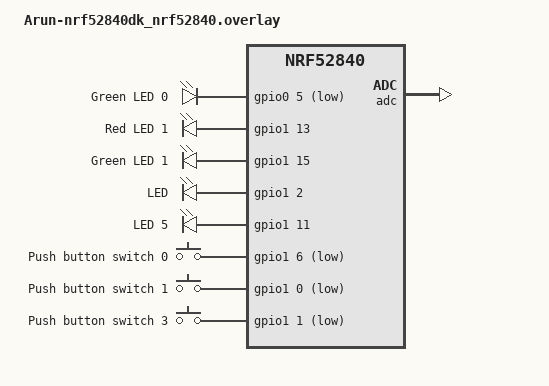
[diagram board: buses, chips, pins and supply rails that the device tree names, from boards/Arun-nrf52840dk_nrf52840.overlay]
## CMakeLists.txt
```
cmake_minimum_required(VERSION 3.20.0)

find_package(Zephyr REQUIRED HINTS $ENV{ZEPHYR_BASE})

project(nurse_call_spo2)

# NORDIC SDK APP START
set(TT_DEVICE_TYPE "NURSE_CALL_SPO2")
include(../TT_common/tt_common.cmake)

target_sources(app PRIVATE
    src/app_threads.c
    src/spo2_sensor.c
    src/temp_sensor.c
    ../TT_common/adc_utils.c
)
# NORDIC SDK APP END
```

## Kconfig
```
#
# Kconfig for Nurse_Call_SpO2 combined application
#

menu "Zephyr Kernel"
source "Kconfig.zephyr"
endmenu

module = COAP_CLIENT
module-str = CoAP client
source "${ZEPHYR_BASE}/subsys/logging/Kconfig.template.log_config"

module = COAP_CLIENT_UTILS
module-str = CoAP client utilities
source "${ZEPHYR_BASE}/subsys/logging/Kconfig.template.log_config"

module = BLE_UTILS
module-str = Bluetooth connection utilities
source "${ZEPHYR_BASE}/subsys/logging/Kconfig.template.log_config"

config APP_NURSE_CALL_ONLY
    bool "Build as Nurse Call Only (disable SpO2 and Temp)"
    default n
    help
      Sets default SpO2 and Temp scan rates to 9999 so sensor threads
      are never spawned, operating purely as a standalone Nurse Call device.

config USE_ADC_SENSOR
    bool "Enable ADC Readings"
    default y

config USE_MOTION_SENSOR
    bool "Enable Motion Sensor"
    default n

config USE_UART1_SENSOR
    bool "Enable UART1 Sensor"
    default n

config DEVICE_PREFIX
    string "Device type prefix used in unique_id (e.g. NC_SP)"
    default "NC_SP"

config DEVICE_DEFAULT_PROFILE
    string "Default profile/bed name stored in NVS on first boot"
    default "E4A_%.8s"
```

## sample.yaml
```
sample:
  description: Nurse Call and SpO2 merged firmware application with Zephyr RTOS multithreading
  name: nurse_call_spo2
tests:
  sample.nurse_call_spo2:
    build_only: true
    platform_allow: nrf52840dk_nrf52840
    tags: thread openthread ble
```

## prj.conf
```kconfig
# ==============================================================================
# TokuchuTech Fleet - Universal Master Base Configuration
# Base: IR-nRF-Blaster standard (Picolibc + OpenThread FTD + BLE + Power Mgmt)
# Updated on 2nd Sept 2026
# ==============================================================================

# --- Board & GPIO ---
CONFIG_DK_LIBRARY=y
CONFIG_GPIO=y

# --- Generic Networking & OpenThread FTD ---
CONFIG_NETWORKING=y
CONFIG_COAP=y
CONFIG_NET_L2_OPENTHREAD=y
CONFIG_OPENTHREAD=y
CONFIG_OPENTHREAD_COAP=y
CONFIG_OPENTHREAD_FTD=y
CONFIG_OPENTHREAD_SLAAC=y
CONFIG_OPENTHREAD_DEFAULT_TX_POWER=8

# --- Network Sockets ---
CONFIG_COAP_UTILS=y
CONFIG_NET_SOCKETS=y
CONFIG_NET_IPV6=y
CONFIG_NET_SOCKETS_POLL_MAX=4

# --- OpenThread Network Security & Credentials ---
CONFIG_OPENTHREAD_MANUAL_START=y
CONFIG_OPENTHREAD_JOINER=y
CONFIG_OPENTHREAD_NETWORKKEY="00:11:22:33:44:55:66:77:88:99:aa:bb:cc:dd:ee:ff"
CONFIG_OPENTHREAD_PANID=43969

# --- C-Library & Size Optimizations ---
CONFIG_PICOLIBC=y
CONFIG_CBPRINTF_NANO=y
CONFIG_SIZE_OPTIMIZATIONS=y
CONFIG_MBEDTLS_SHA1_C=n
CONFIG_FPU=y

# --- Production Hardening & Stripped Logs ---
CONFIG_LOG=n
CONFIG_ASSERT=n
CONFIG_THREAD_NAME=n
CONFIG_DEBUG_THREAD_INFO=n
# CONFIG_LOG_DEFAULT_LEVEL=2
# CONFIG_PRINTK=n

# --- UART Driver (Interrupt Driven, Async DMA Disabled) ---
CONFIG_UART_ASYNC_API=n
CONFIG_UART_INTERRUPT_DRIVEN=y
CONFIG_UART_0_INTERRUPT_DRIVEN=y

# --- NVS Flash & System Control ---
CONFIG_NVS=y
CONFIG_FLASH=y
CONFIG_FLASH_MAP=y
CONFIG_FLASH_PAGE_LAYOUT=y
CONFIG_REBOOT=y

# --- Standard Stack Sizes ---
CONFIG_MAIN_STACK_SIZE=4096
CONFIG_SYSTEM_WORKQUEUE_STACK_SIZE=4096
CONFIG_OPENTHREAD_THREAD_STACK_SIZE=8192

# --- Bootloader & BLE FOTA (MCUmgr SMP) ---
CONFIG_BOOTLOADER_MCUBOOT=y
CONFIG_NCS_SAMPLE_MCUMGR_BT_OTA_DFU=n
CONFIG_NORDIC_QSPI_NOR=n

CONFIG_ZCBOR=y
CONFIG_NET_BUF=y
CONFIG_MCUMGR=y
CONFIG_MCUMGR_TRANSPORT_BT=y
CONFIG_MCUMGR_TRANSPORT_BT_PERM_RW=y

# Essential MCUmgr groups for BLE FOTA
CONFIG_MCUMGR_GRP_IMG=y
CONFIG_MCUMGR_GRP_OS=y
CONFIG_MCUMGR_GRP_OS_INFO=y
CONFIG_MCUMGR_GRP_OS_BOOTLOADER_INFO=y
CONFIG_MCUMGR_GRP_OS_ECHO=y
CONFIG_MCUMGR_GRP_STAT=n
CONFIG_MCUMGR_GRP_SHELL=n

CONFIG_IMG_MANAGER=y
CONFIG_MCUBOOT_IMG_MANAGER=y
CONFIG_STREAM_FLASH=y
CONFIG_IMG_ERASE_PROGRESSIVELY=y

# MCUmgr buffer settings (2475 bytes required for nRF Device Manager / DFU Manager)
CONFIG_MCUMGR_TRANSPORT_NETBUF_COUNT=4
CONFIG_MCUMGR_TRANSPORT_NETBUF_SIZE=2475

# Settings storage configuration matching pm_static.yml (0x2000 = 8 KB = 2 sectors of 4 KB)
CONFIG_SETTINGS_NVS_SECTOR_COUNT=2

# --- Hardware Peripherals & Device Identity ---
CONFIG_ADC=y
CONFIG_USE_ADC_SENSOR=y
CONFIG_DEVICE_PREFIX="NC_SP"
CONFIG_HEAP_MEM_POOL_SIZE=8192

# --- Bluetooth LE Base Profile ---
CONFIG_BT=y
CONFIG_BT_PERIPHERAL=y
CONFIG_BT_SMP=y
CONFIG_BT_NUS=y
CONFIG_BT_SETTINGS=n
CONFIG_BT_DEVICE_NAME="NC_SpO2_Device"

# --- Power Management & Device Profile ---
CONFIG_POWEROFF=y
CONFIG_PM_DEVICE=y
CONFIG_DEVICE_DEFAULT_PROFILE="E4A_%.8s"

# --- BLE High-Throughput Engine ---
CONFIG_BT_L2CAP_TX_MTU=247
CONFIG_BT_BUF_ACL_TX_SIZE=251
CONFIG_BT_BUF_ACL_RX_SIZE=251
CONFIG_BT_BUF_ACL_TX_COUNT=6
# CONFIG_BT_BUF_ACL_RX_COUNT=6
CONFIG_BT_CONN_TX_MAX=6
CONFIG_BT_DATA_LEN_UPDATE=y
CONFIG_BT_USER_DATA_LEN_UPDATE=y
CONFIG_BT_PHY_UPDATE=y

# Neutral signing version to bypass version enforcement during development
CONFIG_MCUBOOT_IMGTOOL_SIGN_VERSION="0.0.0+0"

# Custom Board GPIO & Peripheral Configuration
CONFIG_NFCT_PINS_AS_GPIOS=y
CONFIG_NORDIC_QSPI_NOR=n
```

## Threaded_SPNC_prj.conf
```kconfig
# Device Identity
CONFIG_DEVICE_PREFIX="NC_SP"
CONFIG_BT_DEVICE_NAME="NC_SpO2_Device"

# Hardware Peripherals (Battery ADC)
CONFIG_ADC=y
CONFIG_USE_ADC_SENSOR=y

# Increased Heap for Dual-Thread Concurrent Processing
CONFIG_HEAP_MEM_POOL_SIZE=8192
```

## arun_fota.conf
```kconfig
CONFIG_BOOTLOADER_MCUBOOT=y
# Disable the Nordic sample DFU umbrella which forces QSPI NOR driver and hijacks P0.19
CONFIG_NCS_SAMPLE_MCUMGR_BT_OTA_DFU=n
CONFIG_NORDIC_QSPI_NOR=n

CONFIG_MCUMGR=y
CONFIG_MCUMGR_TRANSPORT_BT=y
CONFIG_MCUMGR_TRANSPORT_BT_PERM_RW=y

# Enable only essential MCUmgr groups for BLE FOTA
CONFIG_MCUMGR_GRP_IMG=y
CONFIG_MCUMGR_GRP_OS=y
CONFIG_MCUMGR_GRP_STAT=n
CONFIG_MCUMGR_GRP_SHELL=n

CONFIG_FLASH=y
CONFIG_FLASH_MAP=y
CONFIG_IMG_MANAGER=y
CONFIG_MCUBOOT_IMG_MANAGER=y
CONFIG_STREAM_FLASH=y

# Optimize MCUmgr buffers
CONFIG_MCUMGR_TRANSPORT_NETBUF_COUNT=2
CONFIG_MCUMGR_TRANSPORT_NETBUF_SIZE=256

# Settings storage configuration matching pm_static.yml (0x2000 = 8 KB = 2 sectors of 4 KB)
CONFIG_SETTINGS_NVS_SECTOR_COUNT=2
```

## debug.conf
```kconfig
#
# For debugging with Log etc - 19/7/26
#

CONFIG_LOG=y
CONFIG_LOG_DEFAULT_LEVEL=3

# CONFIG_THREAD_ANALYZER=y
# CONFIG_THREAD_ANALYZER_AUTO=y
# CONFIG_THREAD_ANALYZER_AUTO_INTERVAL=20
# CONFIG_THREAD_NAME=y
# CONFIG_INIT_STACKS=y

CONFIG_PRINTK=y
# OTA
CONFIG_NCS_SAMPLE_MCUMGR_BT_OTA_DFU=n
```

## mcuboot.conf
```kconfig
CONFIG_NORDIC_QSPI_NOR=n
```

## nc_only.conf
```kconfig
# ==============================================================================
# TokuchuTech Fleet - Pure Nurse Call (NC Only) Configuration Variant
# ==============================================================================
CONFIG_APP_NURSE_CALL_ONLY=y
CONFIG_DEVICE_PREFIX="NC"
CONFIG_BT_DEVICE_NAME="Nurse_Call"
```

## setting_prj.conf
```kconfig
# ==============================================================================
# TokuchuTech Fleet - Advanced FOTA, Versioning & MCUmgr Settings
# Overlay configuration: setting_prj.conf
# Does not modify or conflict with existing prj.conf or device-specific prj.conf
# ==============================================================================

# ------------------------------------------------------------------------------
# 1. Device Information Service (DIS) - Populates HW & SW Version in BLE Apps
# ------------------------------------------------------------------------------
CONFIG_BT_DIS=y
CONFIG_BT_DIS_MANUF_NAME=y
CONFIG_BT_DIS_MANUF_NAME_STR="TokuchuTech"
CONFIG_BT_DIS_MODEL_NUMBER=y
CONFIG_BT_DIS_MODEL_NUMBER_STR="nRF52840_Node"
CONFIG_BT_DIS_HW_REV=y
CONFIG_BT_DIS_HW_REV_STR="REV_1.0"
CONFIG_BT_DIS_FW_REV=y
CONFIG_BT_DIS_FW_REV_STR="1.0.0"
CONFIG_BT_DIS_SW_REV=y
CONFIG_BT_DIS_SW_REV_STR="1.0.0"

# ------------------------------------------------------------------------------
# 2. Bootloader & MCUboot Image Management (Resolves UNKNOWN Bootloader & SW)
# ------------------------------------------------------------------------------
CONFIG_BOOTLOADER_MCUBOOT=y
CONFIG_MCUMGR=y
CONFIG_MCUMGR_GRP_IMG=y
CONFIG_IMG_MANAGER=y
CONFIG_MCUBOOT_IMG_MANAGER=y
CONFIG_STREAM_FLASH=y
CONFIG_FLASH=y
CONFIG_FLASH_MAP=y
CONFIG_IMG_ERASE_PROGRESSIVELY=y

# ------------------------------------------------------------------------------
# 3. MCUmgr OS Group (Resolves UNKNOWN Kernel, Bootloader Name & Mode, Echo)
# ------------------------------------------------------------------------------
CONFIG_MCUMGR_GRP_OS=y
CONFIG_MCUMGR_GRP_OS_INFO=y
CONFIG_MCUMGR_GRP_OS_BOOTLOADER_INFO=y
CONFIG_MCUMGR_GRP_OS_ECHO=y

# ------------------------------------------------------------------------------
# 4. Transport 1: BLE SMP (For Mobile Phone - nRF Device Manager App)
# ------------------------------------------------------------------------------
CONFIG_MCUMGR_TRANSPORT_BT=y
CONFIG_MCUMGR_TRANSPORT_BT_PERM_RW=y
CONFIG_MCUMGR_TRANSPORT_NETBUF_COUNT=4
CONFIG_MCUMGR_TRANSPORT_NETBUF_SIZE=2475

# ------------------------------------------------------------------------------
# 5. Transport 2: OpenThread UDP (For Remote Fleet Updates via RP4 OTBR)
# ------------------------------------------------------------------------------
CONFIG_NET_UDP=y
CONFIG_NET_SOCKETS=y
CONFIG_MCUMGR_TRANSPORT_UDP=y
CONFIG_MCUMGR_TRANSPORT_UDP_IPV6=y
CONFIG_MCUMGR_TRANSPORT_UDP_PORT=1337
CONFIG_MCUMGR_TRANSPORT_UDP_STACK_SIZE=1536
```

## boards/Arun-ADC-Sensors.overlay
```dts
/* Copyright (c) 2020 Nordic Semiconductor ASA
 *
 * SPDX-License-Identifier: LicenseRef-Nordic-5-Clause
 */

 / 
 {

	
};

&adc {
	status = "okay";
};
// &uart1 {
// 	status = "okay";
// };
```

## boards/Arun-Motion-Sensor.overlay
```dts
/* Copyright (c) 2020 Nordic Semiconductor ASA
 *
 * SPDX-License-Identifier: LicenseRef-Nordic-5-Clause
 */

 / {


buttons {
	compatible = "gpio-keys";

	button4: button_4 {
		gpios = <&gpio1 10 (GPIO_PULL_DOWN | GPIO_ACTIVE_HIGH)>;  // 4th Button - for Motion Sensor PULL DOWN and ACTIVE HIGH
		label = "Push button switch 4";
	};

};	



};
```

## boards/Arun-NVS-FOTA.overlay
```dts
/* 
 *
 * created by Arun for merging NVS and FOTA
 */


&flash0 {
	partitions {
		compatible = "fixed-partitions";
		#address-cells = <1>;
		#size-cells = <1>;

		nvs_partition: partition@7e000 {
			label = "nvs_partition";
			reg = <0x0007e000 0x00002000>; // 8 KB
		};
	};
};
```

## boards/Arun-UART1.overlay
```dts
/* Copyright (c) 2020 Nordic Semiconductor ASA
 *
 * Arun File for UART1
 */


&uart1 {
	status = "okay";
};

&pinctrl {
	
	uart0_default: uart0_default {
		group1 {
			psels = <NRF_PSEL(UART_TX, 1, 2)>,  // UART-0 DK 0 6 REV0  0 21 UART-1 1 2
				<NRF_PSEL(UART_RTS, 0, 24)>;
		};
		group2 {
			psels = <NRF_PSEL(UART_RX, 1, 1)>,  // UART-0 DK 0 8 Rev0 0 23  UART-1 1 1
				<NRF_PSEL(UART_CTS, 0, 22)>;
			bias-pull-up;
		};
	};

	uart0_sleep: uart0_sleep {
		group1 {
			psels = <NRF_PSEL(UART_TX, 1, 2)>,  // UART-0 DK 0 6 REV0  0 21 UART-1 1 2
				<NRF_PSEL(UART_RX, 1, 1)>,   // UART-0 DK 0 8 Rev0 0 23 UART-1 1 1
				<NRF_PSEL(UART_RTS, 0, 24)>,
				<NRF_PSEL(UART_CTS, 0, 22)>;
			low-power-enable;
		};
	};

	uart1_default: uart1_default {
		group1 {
			psels = <NRF_PSEL(UART_RX, 0, 23)>; // UART-1 DK 1 1 REV0  0 23 
			bias-pull-up;
		};
		group2 {
			psels = <NRF_PSEL(UART_TX, 0, 21)>;  // UART-1 DK 1 2 Rev0 0 21  
		};
	};

	uart1_sleep: uart1_sleep {
		group1 {
			psels = <NRF_PSEL(UART_RX, 0, 23)>,// DK 1 1 REV0  0 23
				<NRF_PSEL(UART_TX, 0, 21)>;    // DK 1 2 Rev0 0 21
			low-power-enable;
		};
	};

};
```

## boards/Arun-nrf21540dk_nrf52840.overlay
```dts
/* Copyright (c) 2020 Nordic Semiconductor ASA
 *
 * SPDX-License-Identifier: LicenseRef-Nordic-5-Clause
 */

/* Default Zephyr configuration already provides GPIO support for FEM. */

/ {
	/*
	* In some default configurations within the nRF Connect SDK,
	* e.g. on nRF52840, the chosen zephyr,entropy node is &cryptocell.
	* This devicetree overlay ensures that default is overridden wherever it
	* is set, as this application uses the RNG node for entropy exclusively.
	*/
	// chosen {
	// 	zephyr,entropy = &rng;
	// };
nrf_radio_fem: nrf21540_fem {
	tx-en-gpios = <&gpio1 7 GPIO_ACTIVE_HIGH>;
	rx-en-gpios = <&gpio1 12 GPIO_ACTIVE_HIGH>;
	pdn-gpios = <&gpio1 5 GPIO_ACTIVE_HIGH>;
	mode-gpios = <&gpio1 14 GPIO_ACTIVE_HIGH>;
	};
};
```

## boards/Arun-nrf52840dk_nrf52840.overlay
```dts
/*
 *Customized by Arun for SpO2 probe connection to DK Board Rev-2 directly
 Gnd - GND
 P0.02 - SpO2 Probe ADC
 P0.03 - Body Temp ADC
 P1.15 - Button - IR IR LED
 P1.13 - Button - Red - IR LED
 P1.10 - Empty

 P1.11- Assigned for Relay but not used currently.
 *
 */

 / {

	chosen {
		zephyr,entropy = &rng;
	};

	leds {
		compatible = "gpio-leds";
		led0: led_0 {				// Openthread LED
			gpios = <&gpio0 5 GPIO_ACTIVE_LOW>;
			label = "Green LED 0";
		};
		led1: led_1 {
			gpios = <&gpio1 13 GPIO_ACTIVE_HIGH>; // Trying for SpO2 Red LED P1 13
			label = "Red LED 1";
		};
		led2: led_2 {
			gpios = <&gpio1 15 GPIO_ACTIVE_HIGH>; // Trying for SpO2 IR LED P1 15
			label = "Green LED 1";
		};
		// led3: led_3 {
		// 	gpios = <&gpio0 16 GPIO_ACTIVE_LOW>; // Not used
		// 	label = "Blue LED 1";
		// };
		led4S: led_4 {			// LIGHT_LED
			gpios = <&gpio1 2 GPIO_ACTIVE_HIGH>;  // For Nurse calling P1.02 Active High
			label = "LED";
		};
		led5S: led_5 {
			gpios = <&gpio1 11 GPIO_ACTIVE_HIGH>;  // 0 04 or 0 11 - Used for Relay
			label = "LED 5";
		};
		// led6S: led_6 {			// STATUS_LED
		//  	gpios = <&gpio0 04 GPIO_ACTIVE_HIGH>; // Not used
		//  	label = "LED 6";
		//  };
	};


buttons {
	compatible = "gpio-keys";
	button0: button_0 {
		gpios = <&gpio1 6 (GPIO_ACTIVE_LOW | GPIO_PULL_UP)>;  // Device Config Parameters and Provisioning
		label = "Push button switch 0";
	};

	button1: button_1 {
		gpios = <&gpio1 0 (GPIO_PULL_UP | GPIO_ACTIVE_LOW)>;  // 3rd Button - Cancel (P1.00)
		label = "Push button switch 1";
	};

	// button2: button_2 {
	// 	gpios = <&gpio1 10 (GPIO_PULL_UP | GPIO_ACTIVE_LOW)>;   // Blue button placeholder
	// 	label = "Push button switch 2";
	// };

	button3: button_3 {
		gpios = <&gpio1 1 (GPIO_PULL_UP | GPIO_ACTIVE_LOW)>;   // 1st Button - Call (P1.01)
		label = "Push button switch 3";
	};

	// button4: button_4 {
	// 	gpios = <&gpio1 10 (GPIO_PULL_UP | GPIO_ACTIVE_LOW)>;  // Keeping this Button 4 for definition only. Actual use is in Motion sensor
	// 	label = "Push button switch 4";
	// };

	// button4: button_4 {
	// 	gpios = <&gpio1 10 (GPIO_PULL_DOWN | GPIO_ACTIVE_HIGH)>;  // 4th Button - for Motion Sensor PULL DOWN and ACTIVE HIGH
	// 	label = "Push button switch 4";
	// };

};



};

&adc {
	status = "okay";
};
&uart1 {
	status = "disabled";
};
&pwm0 {
	status = "disabled";
};
&i2c0 {
	status = "disabled";
};
&spi0 {
	status = "disabled";
};
&spi1 {
	status = "disabled";
};
&spi2 {
	status = "disabled";
};
&spi3 {
	status = "disabled";
};
&qspi {
	status = "disabled";
};
&usbd {
	status = "disabled";
};
&pinctrl {
	uart0_default: uart0_default {
		group1 {
			psels = <NRF_PSEL(UART_TX, 0, 21)>,
				<NRF_PSEL(UART_RTS, 0, 20)>;
		};
		group2 {
			psels = <NRF_PSEL(UART_RX, 0, 23)>,
				<NRF_PSEL(UART_CTS, 0, 22)>;
			bias-pull-up;
		};
	};

	uart0_sleep: uart0_sleep {
		group1 {
			psels = <NRF_PSEL(UART_TX, 0, 21)>,
				<NRF_PSEL(UART_RX, 0, 23)>,
				<NRF_PSEL(UART_RTS, 0, 20)>,
				<NRF_PSEL(UART_CTS, 0, 22)>;
			low-power-enable;
		};
	};

	uart1_default: uart1_default {
		group1 {
			psels = <NRF_PSEL(UART_RX, 1, 1)>;
			bias-pull-up;
		};
		group2 {
			psels = <NRF_PSEL(UART_TX, 1, 2)>;
		};
	};

	uart1_sleep: uart1_sleep {
		group1 {
			psels = <NRF_PSEL(UART_RX, 1, 1)>,
				<NRF_PSEL(UART_TX, 1, 2)>;
			low-power-enable;
		};
	};
};
```

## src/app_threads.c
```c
#include <zephyr/kernel.h>
#include <zephyr/logging/log.h>
#include <zephyr/device.h>
#include <stdio.h>
#include <string.h>
// #include <app_version.h>

#include "app_threads.h"
#include "spo2_sensor.h"
#include "temp_sensor.h"
#include "config_parameter.h"
#include "common_nvs.h"
#include "tt_main.h"
#include "common_button.h"

LOG_MODULE_REGISTER(app_threads, LOG_LEVEL_INF);
#ifndef BLE_TYPE_BUT
#define BLE_TYPE_BUT 0x08
#endif

void send_typed_value_to_mobile(uint8_t type, int16_t value);

/* Message queues for inter-thread telemetry & high-priority alert dispatch */
K_MSGQ_DEFINE(telemetry_msgq, sizeof(struct telemetry_msg), 16, 4);
K_MSGQ_DEFINE(alert_msgq, sizeof(struct telemetry_msg), 4, 4);

/* Stack definitions for dedicated Zephyr threads */
#define SPO2_THREAD_STACK_SIZE       2048
#define TEMP_THREAD_STACK_SIZE       2048
#define NURSE_CALL_THREAD_STACK_SIZE 2048
#define TELEMETRY_THREAD_STACK_SIZE  2048

#define NURSE_CALL_THREAD_PRIO  4
#define SPO2_THREAD_PRIO        5
#define TEMP_THREAD_PRIO        6
#define TELEMETRY_THREAD_PRIO   7

K_THREAD_STACK_DEFINE(spo2_stack_area, SPO2_THREAD_STACK_SIZE);
K_THREAD_STACK_DEFINE(temp_stack_area, TEMP_THREAD_STACK_SIZE);
K_THREAD_STACK_DEFINE(nurse_call_stack_area, NURSE_CALL_THREAD_STACK_SIZE);
K_THREAD_STACK_DEFINE(telemetry_stack_area, TELEMETRY_THREAD_STACK_SIZE);

static struct k_thread spo2_thread_data;
static struct k_thread temp_thread_data;
static struct k_thread nurse_call_thread_data;
static struct k_thread telemetry_thread_data;

static atomic_t spo2_sampling_active = ATOMIC_INIT(0);
static atomic_t measuring_enabled = ATOMIC_INIT(1);

K_MUTEX_DEFINE(alert_state_mutex);
static bool pending_alert_active = false;
static uint8_t pending_alert_id = 0;
static uint8_t pending_alert_state = 0; /* 1 = ACTIVE, 0 = CANCELLED, 2 = BLUE */
static int64_t pending_alert_timestamp = 0;

extern int ble_utils_send(const uint8_t *data, uint16_t len);
extern int send_data_to_OTBR(uint8_t *buf, uint8_t ble_type, int16_t ble_value);
extern void enter_hibernation(void);
extern void update_activity_timestamp(void);
extern int64_t last_activity_time;
void send_typed_value_to_mobile(uint8_t type, int16_t value);

void app_set_pending_alert(uint8_t alert_id, uint8_t alert_state, int64_t timestamp)
{
    k_mutex_lock(&alert_state_mutex, K_FOREVER);
    if (timestamp >= pending_alert_timestamp) {
        pending_alert_active = true;
        pending_alert_id = alert_id;
        pending_alert_state = alert_state;
        pending_alert_timestamp = timestamp;
    }
    k_mutex_unlock(&alert_state_mutex);
}

void app_set_pending_alert_on_failure(uint8_t alert_id, uint8_t alert_state, int64_t timestamp)
{
    k_mutex_lock(&alert_state_mutex, K_FOREVER);
    if (timestamp >= pending_alert_timestamp) {
        pending_alert_active = true;
        pending_alert_id = alert_id;
        pending_alert_state = alert_state;
        pending_alert_timestamp = timestamp;
    } else {
        LOG_WRN("Discarded stale failure state (ts %lld < pending ts %lld)",
                (long long)timestamp, (long long)pending_alert_timestamp);
    }
    k_mutex_unlock(&alert_state_mutex);
}

bool app_get_pending_alert(uint8_t *out_alert_id, uint8_t *out_alert_state, int64_t *out_timestamp)
{
    k_mutex_lock(&alert_state_mutex, K_FOREVER);
    bool active = pending_alert_active;
    if (active) {
        if (out_alert_id) *out_alert_id = pending_alert_id;
        if (out_alert_state) *out_alert_state = pending_alert_state;
        if (out_timestamp) *out_timestamp = pending_alert_timestamp;
    }
    k_mutex_unlock(&alert_state_mutex);
    return active;
}

void app_clear_pending_alert_if_matched(uint8_t alert_id, uint8_t alert_state, int64_t timestamp)
{
    k_mutex_lock(&alert_state_mutex, K_FOREVER);
    if (pending_alert_active && pending_alert_id == alert_id &&
        pending_alert_state == alert_state && timestamp >= pending_alert_timestamp) {
        pending_alert_active = false;
    }
    k_mutex_unlock(&alert_state_mutex);
}

bool is_spo2_sampling_active(void)
{
    return atomic_get(&spo2_sampling_active) != 0;
}

void app_set_measuring_enabled(bool enable)
{
    atomic_set(&measuring_enabled, enable ? 1 : 0);
}

void app_post_telemetry(const struct telemetry_msg *msg)
{
    if (msg->type == MSG_TYPE_NURSE_CALL_ALERT ||
        msg->type == MSG_TYPE_NURSE_CALL_CANCEL ||
        msg->type == MSG_TYPE_NURSE_CALL_BLUE) {
        uint8_t alert_state = msg->data.alert.alert_state;
        int64_t ts = msg->timestamp > 0 ? msg->timestamp : k_uptime_get();
        app_set_pending_alert(msg->data.alert.alert_id, alert_state, ts);

        int ret = k_msgq_put(&alert_msgq, msg, K_MSEC(200));
        if (ret != 0) {
            LOG_ERR("Alert msgq full, alert state retained for persistent retry (type %d)", msg->type);
        }
    } else {
        int ret = k_msgq_put(&telemetry_msgq, msg, K_NO_WAIT);
        if (ret != 0) {
            LOG_WRN("Telemetry msgq full, dropping message type %d", msg->type);
        }
    }
}

/* =========================================================
 * Thread 1: SpO2 Sampling & Calculation Thread
 * ========================================================= */
static void spo2_thread_entry(void *p1, void *p2, void *p3)
{
    ARG_UNUSED(p1); ARG_UNUSED(p2); ARG_UNUSED(p3);
    printk("[SPO2_THREAD] SpO2 sampling thread started\n");

    spo2_init();

    while (1) {
        uint32_t raw_scan = common_config_get_spo2_scan_rate();
        bool enabled = (atomic_get(&measuring_enabled) != 0) && (raw_scan < 9999);

        if (enabled) {
            atomic_set(&spo2_sampling_active, 1);
            update_activity_timestamp();

            printk("[SPO2_THREAD] Executing SpO2 sampling loop...\n");
            spo2_start();

            atomic_set(&spo2_sampling_active, 0);

            uint32_t scan_rate = raw_scan > 0 ? raw_scan : 60;
            k_sleep(K_SECONDS(scan_rate));
        } else {
            /* Sensor disabled: sleep without running sampling or resetting activity timestamp */
            k_sleep(K_SECONDS(5));
        }
    }
}

/* =========================================================
 * Thread 2: Temperature Sampling Thread
 * ========================================================= */
static void temp_thread_entry(void *p1, void *p2, void *p3)
{
    ARG_UNUSED(p1); ARG_UNUSED(p2); ARG_UNUSED(p3);
    printk("[TEMP_THREAD] Temperature sampling thread started\n");

    temp_init();

    while (1) {
        uint32_t raw_scan = common_config_get_body_temp_scan_rate();
        bool enabled = (atomic_get(&measuring_enabled) != 0) && (raw_scan < 9999);

        if (enabled) {
            update_activity_timestamp();
            printk("[TEMP_THREAD] Executing Temperature sampling loop...\n");
            temp_start();

            uint32_t scan_rate = raw_scan > 0 ? raw_scan : 90;
            k_sleep(K_SECONDS(scan_rate));
        } else {
            /* Sensor disabled: sleep without running sampling or resetting activity timestamp */
            k_sleep(K_SECONDS(5));
        }
    }
}

/* =========================================================
 * Thread 3: Nurse Call Event Processing Thread (Idle / Workqueue driven)
 * ========================================================= */
static void nurse_call_thread_entry(void *p1, void *p2, void *p3)
{
    ARG_UNUSED(p1); ARG_UNUSED(p2); ARG_UNUSED(p3);
    printk("[NC_THREAD] Nurse Call event thread started\n");

    while (1) {
        k_msleep(1000);
    }
}

/* =========================================================
 * Thread 4: Telemetry Dispatch Thread (BLE & OpenThread CoAP)
 * ========================================================= */
static int process_telemetry_msg(const struct telemetry_msg *msg)
{
    char json_buf[256];
    int rc = 0;

    switch (msg->type) {
    case MSG_TYPE_SPO2:
    {
        char prof_buf[32] = {0};
        common_config_get_profile(prof_buf, sizeof(prof_buf));

        snprintf(json_buf, sizeof(json_buf),
            "{\"unique_id\":\"%s\",\"profile\":\"%s\",\"type\":11,\"SpO2\":%d,\"HeartRate\":%d}",
            unique_id, prof_buf, msg->data.spo2.spo2, msg->data.spo2.heart_rate);
        printk("TX SpO2 Telemetry: %s\n", json_buf);
        rc = send_data_to_OTBR((uint8_t *)json_buf, BLE_TYPE_SPO2, msg->data.spo2.spo2);

        /* Send Heart Rate over BLE in Home mode */
        if (!common_is_hospital()) {
            k_msleep(20);
            send_typed_value_to_mobile(BLE_TYPE_HR, msg->data.spo2.heart_rate);
        }
        break;
    }

    case MSG_TYPE_TEMP:
    {
        char prof_buf[32] = {0};
        common_config_get_profile(prof_buf, sizeof(prof_buf));

        int16_t temp_x100 = msg->data.temp.temp_f_x100;
        int32_t whole = temp_x100 / 100;
        int32_t frac = temp_x100 % 100;
        if (frac < 0) {
            frac = -frac;
        }
        snprintf(json_buf, sizeof(json_buf),
            "{\"unique_id\":\"%s\",\"profile\":\"%s\",\"type\":11,\"Temp_F\":%ld.%02ld}",
            unique_id, prof_buf, (long)whole, (long)frac);
        printk("TX Temp Telemetry: %s\n", json_buf);
        rc = send_data_to_OTBR((uint8_t *)json_buf, BLE_TYPE_TEMP, temp_x100);
        break;
    }

    case MSG_TYPE_NURSE_CALL_ALERT:
        LOG_INF("TX Nurse Call Alert via common_nurse_call_send");
        common_nurse_call_send(true, msg->data.alert.alert_id);
        rc = 0;
        break;

    case MSG_TYPE_NURSE_CALL_CANCEL:
        LOG_INF("TX Nurse Call Cancel via common_nurse_call_send");
        common_nurse_call_send(false, msg->data.alert.alert_id);
        rc = 0;
        break;

    case MSG_TYPE_NURSE_CALL_BLUE:
        LOG_INF("TX Nurse Call Blue via common_nurse_call_blue_send");
        common_nurse_call_blue_send(msg->data.alert.alert_id);
        rc = 0;
        break;

    default:
        LOG_ERR("Unhandled telemetry message type: %d", msg->type);
        rc = -EINVAL;
        break;
    }

    return rc;
}

void app_notify_alert_ack_received(uint8_t alert_id, uint8_t alert_state, int64_t timestamp)
{
    printk("End-to-End CoAP ACK received for alert_id %d (state=%d, ts=%lld) — evaluating match",
            alert_id, alert_state, (long long)timestamp);
    app_clear_pending_alert_if_matched(alert_id, alert_state, timestamp);
}

void app_notify_alert_ack_failed(void)
{
    k_mutex_lock(&alert_state_mutex, K_FOREVER);
    LOG_WRN("CoAP ACK timeout/failure — retaining pending Nurse Call alert state for retry");
    k_mutex_unlock(&alert_state_mutex);
}

static void telemetry_tx_thread_entry(void *p1, void *p2, void *p3)
{
    ARG_UNUSED(p1); ARG_UNUSED(p2); ARG_UNUSED(p3);
    struct telemetry_msg msg;
    uint32_t retry_backoff_ms = 200;

    printk("Telemetry dispatch thread started");

    while (1) {
        bool alert_processed = false;

        /* 1. Fully drain all pending alert queue items */
        struct telemetry_msg alert_msg;
        while (k_msgq_get(&alert_msgq, &alert_msg, K_NO_WAIT) == 0) {
            update_activity_timestamp();
            int rc = process_telemetry_msg(&alert_msg);
            alert_processed = true;

            uint8_t state = alert_msg.data.alert.alert_state;
            if (rc == 0) {
                app_clear_pending_alert_if_matched(alert_msg.data.alert.alert_id, state, alert_msg.timestamp);
                retry_backoff_ms = 200;
            } else {
                app_set_pending_alert_on_failure(alert_msg.data.alert.alert_id, state, alert_msg.timestamp);
                LOG_ERR("Alert dispatch failed (err %d) — backing off %u ms", rc, retry_backoff_ms);
                k_msleep(retry_backoff_ms);
                retry_backoff_ms = MIN(retry_backoff_ms * 2, 3200);
            }
        }

        /* 2. If alert queue was empty or failed previously, retry pending alert state */
        uint8_t pending_id;
        uint8_t pending_state;
        int64_t pending_ts;
        if (app_get_pending_alert(&pending_id, &pending_state, &pending_ts)) {
            enum telemetry_msg_type retry_type;
            if (pending_state == 1) {
                retry_type = MSG_TYPE_NURSE_CALL_ALERT;
            } else if (pending_state == 2) {
                retry_type = MSG_TYPE_NURSE_CALL_BLUE;
            } else {
                retry_type = MSG_TYPE_NURSE_CALL_CANCEL;
            }
            struct telemetry_msg retry_msg = {
                .type = retry_type,
                .timestamp = pending_ts
            };
            retry_msg.data.alert.alert_id = pending_id;
            retry_msg.data.alert.alert_state = pending_state;

            update_activity_timestamp();
            int rc = process_telemetry_msg(&retry_msg);
            alert_processed = true;

            if (rc == 0) {
                app_clear_pending_alert_if_matched(pending_id, pending_state, pending_ts);
                retry_backoff_ms = 200;
            } else {
                LOG_ERR("Alert retry dispatch failed (err %d) — backing off %u ms", rc, retry_backoff_ms);
                k_msleep(retry_backoff_ms);
                retry_backoff_ms = MIN(retry_backoff_ms * 2, 3200);
            }
        }

        if (alert_processed) {
            continue;
        }

        /* 3. Wait for periodic telemetry data if alert queue is empty and no pending alert */
        if (k_msgq_get(&telemetry_msgq, &msg, K_MSEC(100)) == 0) {
            /* Re-drain alert queue before processing routine message */
            while (k_msgq_get(&alert_msgq, &alert_msg, K_NO_WAIT) == 0) {
                update_activity_timestamp();
                int rc = process_telemetry_msg(&alert_msg);
                uint8_t state = alert_msg.data.alert.alert_state;
                if (rc == 0) {
                    app_clear_pending_alert_if_matched(alert_msg.data.alert.alert_id, state, alert_msg.timestamp);
                    retry_backoff_ms = 200;
                } else {
                    app_set_pending_alert_on_failure(alert_msg.data.alert.alert_id, state, alert_msg.timestamp);
                }
            }
            update_activity_timestamp();
            process_telemetry_msg(&msg);
        }
    }
}

/* =========================================================
 * Application Lifecycle Initialization & Background Monitor
 * ========================================================= */
#define SENSOR_DISABLED_SCAN_RATE 9999

void device_app_init(void)
{
    printk("[APP_INIT] Initializing Nurse Call + SpO2 Application Multithreading\n");

    /* Read configured sensor scan rates */
    uint32_t spo2_scan_rate = common_config_get_spo2_scan_rate();
    uint32_t temp_scan_rate = common_config_get_body_temp_scan_rate();

    bool spo2_enabled = (spo2_scan_rate > 0 && spo2_scan_rate != SENSOR_DISABLED_SCAN_RATE);
    bool temp_enabled = (temp_scan_rate > 0 && temp_scan_rate != SENSOR_DISABLED_SCAN_RATE);

    printk("[APP_INIT] Configuration: SpO2 scan=%u s (%s), Temp scan=%u s (%s)\n",
           spo2_scan_rate, spo2_enabled ? "ENABLED" : "DISABLED",
           temp_scan_rate, temp_enabled ? "ENABLED" : "DISABLED");

    /* Create SpO2 Thread only when enabled */
    if (spo2_enabled) {
        k_thread_create(&spo2_thread_data, spo2_stack_area,
                        K_THREAD_STACK_SIZEOF(spo2_stack_area),
                        spo2_thread_entry, NULL, NULL, NULL,
                        SPO2_THREAD_PRIO, 0, K_NO_WAIT);
        k_thread_name_set(&spo2_thread_data, "spo2_thread");
        printk("[APP_INIT] SpO2 thread CREATED\n");
    } else {
        printk("[APP_INIT] SpO2 thread NOT created (disabled by scan_rate=%u)\n", spo2_scan_rate);
    }

    /* Create Temperature Thread only when enabled */
    if (temp_enabled) {
        k_thread_create(&temp_thread_data, temp_stack_area,
                        K_THREAD_STACK_SIZEOF(temp_stack_area),
                        temp_thread_entry, NULL, NULL, NULL,
                        TEMP_THREAD_PRIO, 0, K_NO_WAIT);
        k_thread_name_set(&temp_thread_data, "temp_thread");
        printk("[APP_INIT] Temperature thread CREATED\n");
    } else {
        printk("[APP_INIT] Temperature thread NOT created (disabled by scan_rate=%u)\n", temp_scan_rate);
    }

    /* Create Nurse Call Thread - ALWAYS required */
    k_thread_create(&nurse_call_thread_data, nurse_call_stack_area,
                    K_THREAD_STACK_SIZEOF(nurse_call_stack_area),
                    nurse_call_thread_entry, NULL, NULL, NULL,
                    NURSE_CALL_THREAD_PRIO, 0, K_NO_WAIT);
    k_thread_name_set(&nurse_call_thread_data, "nurse_call_thread");
    printk("[APP_INIT] Nurse Call thread CREATED\n");

    /* Create Telemetry TX Thread - ALWAYS required */
    k_thread_create(&telemetry_thread_data, telemetry_stack_area,
                    K_THREAD_STACK_SIZEOF(telemetry_stack_area),
                    telemetry_tx_thread_entry, NULL, NULL, NULL,
                    TELEMETRY_THREAD_PRIO, 0, K_NO_WAIT);
    k_thread_name_set(&telemetry_thread_data, "telemetry_tx_thread");
    printk("[APP_INIT] Telemetry TX thread CREATED\n");

    printk("[APP_INIT] Application threads initialization complete\n");
}

void device_background_process(void)
{
    /* Power management: Hibernation is strictly active ONLY on Battery Mode (1) */
    if (common_config_get_battery_mode() != 1) {
        update_activity_timestamp();
        return;
    }

    /* Check whether sensors are enabled / actively scanning:
     * Sensors are considered measuring only if measuring_enabled is true
     * AND their scan rate is not set to disabled (>= 9999).
     */
    bool is_spo2_measuring = (atomic_get(&measuring_enabled) != 0) &&
                             (common_config_get_spo2_scan_rate() < 9999);
    bool is_temp_measuring = (atomic_get(&measuring_enabled) != 0) &&
                             (common_config_get_body_temp_scan_rate() < 9999);

    /* Check idle timeout for hibernation when sensors are disabled and no alerts active */
    if (!is_spo2_measuring && !is_temp_measuring &&
        !is_spo2_sampling_active() && !is_nurse_call_active()) {
        uint32_t idle_s = common_config_get_idle_time_hibernate();
        if (k_uptime_get() - last_activity_time > (int64_t)idle_s * 1000) {
            printk("[APP] Inactivity timeout reached on Battery Mode (%u s), powering down to System OFF...\n",
                   (unsigned int)idle_s);
            enter_hibernation();
        }
    } else {
        update_activity_timestamp();
    }
}

void send_typed_value_to_mobile(uint8_t type, int16_t value)
{
    uint8_t buf[4];

    buf[0] = type;
    buf[1] = 0x00;                 // reserved
    buf[2] = value & 0xFF;         // LSB
    buf[3] = (value >> 8) & 0xFF;  // MSB

    int err = ble_utils_send(buf, sizeof(buf));
    if (err) {
        LOG_ERR("BLE binary send failed: %d", err);
    } else {
        printk("BLE binary sent: type=%d value=%d\n", type, value);
    }
}

void coap_send_device_specific_config(void)
{
    char config_json[256];
    extern int send_data_to_OTBR_internal(uint8_t *buf);

    snprintf(config_json, sizeof(config_json),
        "{"
        "\"Type\":\"SPO2\","
        "\"SensorNo\":%u,"
        "\"SpO2 Scan\":%u,"
        "\"Temp Scan rate\":%u,"
        "\"No Finger Threshold\":%d"
        "}",
        spo2_cfg.sensor_no,
        spo2_cfg.spo2_scan_rate_s,
        spo2_cfg.body_temp_scan_rate_s,
        spo2_cfg.no_finger_threshold);

    printk("Device Specific CFG=%s\n", config_json);
    send_data_to_OTBR_internal((uint8_t *)config_json);
    k_msleep(50);
}
```

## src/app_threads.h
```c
#ifndef APP_THREADS_H
#define APP_THREADS_H

#include <zephyr/kernel.h>
#include <stdint.h>
#include <stdbool.h>

enum telemetry_msg_type {
    MSG_TYPE_SPO2 = 1,
    MSG_TYPE_TEMP,
    MSG_TYPE_NURSE_CALL_ALERT,
    MSG_TYPE_NURSE_CALL_CANCEL,
    MSG_TYPE_NURSE_CALL_BLUE,
    MSG_TYPE_HEARTBEAT
};

struct telemetry_msg {
    enum telemetry_msg_type type;
    union {
        struct {
            int16_t spo2;
            int16_t heart_rate;
        } spo2;
        struct {
            int16_t temp_f_x100; /* Temperature in Fahrenheit * 100 */
        } temp;
        struct {
            uint8_t alert_id;
            uint8_t alert_state; /* 1 = active, 0 = cancelled, 2 = blue */
        } alert;
    } data;
    int64_t timestamp;
};

extern struct k_msgq telemetry_msgq;
extern struct k_msgq alert_msgq;

void app_threads_init(void);
void app_post_telemetry(const struct telemetry_msg *msg);

bool is_spo2_sampling_active(void);
bool is_nurse_call_active(void);

void send_typed_value_to_mobile(uint8_t type, int16_t value);

void app_notify_alert_ack_received(uint8_t alert_id, uint8_t alert_state, int64_t timestamp);
void app_notify_alert_ack_failed(void);

#endif /* APP_THREADS_H */
```

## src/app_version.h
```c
#ifndef APP_VERSION_H
#define APP_VERSION_H

#define APP_VERSION_MAJOR 1
#define APP_VERSION_PATCH 1
#define APP_VERSION_STR   "1.1"
#define APP_VERSION_STRING "1.1"

#endif /* APP_VERSION_H */
```

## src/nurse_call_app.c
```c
#include "nurse_call_app.h"
#include "app_threads.h"

#include <zephyr/kernel.h>
#include <zephyr/logging/log.h>
#include <dk_buttons_and_leds.h>

LOG_MODULE_REGISTER(nurse_call_app, LOG_LEVEL_INF);

static bool nurse_call_alert_active = false;
static uint8_t active_alert_id = 0;
static uint32_t led_flash_counter = 0;

bool is_nurse_call_active(void)
{
    return nurse_call_alert_active;
}

void trigger_nurse_call_alert_local(uint8_t alert_id)
{
    nurse_call_alert_active = true;
    active_alert_id = alert_id;
    LOG_INF("Nurse Call Alert TRIGGERED (ID: %d)", alert_id);

    struct telemetry_msg msg = {
        .type = MSG_TYPE_NURSE_CALL_ALERT,
        .timestamp = k_uptime_get()
    };
    msg.data.alert.alert_id = alert_id;
    msg.data.alert.alert_state = 1;

    app_post_telemetry(&msg);
}

void cancel_nurse_call_alert_local(uint8_t alert_id)
{
    nurse_call_alert_active = false;
    dk_set_led_off(DK_LED1);
    LOG_INF("Nurse Call Alert CANCELLED (ID: %d)", alert_id);

    struct telemetry_msg msg = {
        .type = MSG_TYPE_NURSE_CALL_CANCEL,
        .timestamp = k_uptime_get()
    };
    msg.data.alert.alert_id = alert_id;
    msg.data.alert.alert_state = 0;

    app_post_telemetry(&msg);
}

/* External BLE hook overrides */
void app_trigger_nurse_call_alert(void)
{
    trigger_nurse_call_alert_local(1);
}

void app_trigger_nurse_call_cancel(void)
{
    cancel_nurse_call_alert_local(1);
}

void nurse_call_process_loop(void)
{
    if (nurse_call_alert_active) {
        /* Flash LED1 rapidly (every 200ms) to indicate nurse call alert state */
        if ((led_flash_counter % 2) == 0) {
            dk_set_led_on(DK_LED1);
        } else {
            dk_set_led_off(DK_LED1);
        }
        led_flash_counter++;
    }
}

void nurse_call_init(void)
{
    nurse_call_alert_active = false;
    active_alert_id = 0;
    led_flash_counter = 0;
    LOG_INF("Nurse Call app initialized");
}
```

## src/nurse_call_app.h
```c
#ifndef NURSE_CALL_APP_H
#define NURSE_CALL_APP_H

#include <zephyr/kernel.h>
#include <stdbool.h>
#include <stdint.h>

void nurse_call_init(void);
void nurse_call_process_loop(void);
void trigger_nurse_call_alert_local(uint8_t alert_id);
void cancel_nurse_call_alert_local(uint8_t alert_id);
bool is_nurse_call_active(void);

#endif /* NURSE_CALL_APP_H */
```

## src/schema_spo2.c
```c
#include "common_nvs.h"

struct spo2_config spo2_cfg;
struct spo2_config spo2_candidate_cfg;

static const struct spo2_config spo2_defaults = {
    .sensor_no = 1,
    .version = "1.0",
#if defined(CONFIG_APP_NURSE_CALL_ONLY)
    .spo2_scan_rate_s = 9999,        /* 9999 = Disabled */
    .body_temp_scan_rate_s = 9999,   /* 9999 = Disabled */
#else
    .spo2_scan_rate_s = 60,          /* Normal SpO2 scan (seconds) */
    .body_temp_scan_rate_s = 90,     /* Normal Temp scan (seconds) */
#endif
    .no_finger_threshold = 1000
};

static const config_field_t spo2_fields[] = {
    {
        .name = "sensor_no",
        .label = "Sensor Number",
        .type = PARAM_TYPE_UINT,
        .struct_offset = offsetof(struct spo2_config, sensor_no),
        .field_size = sizeof(((struct spo2_config *)0)->sensor_no),
        .min_val = 0,
        .max_val = 99,
        .unit = NULL,
        .select_options = NULL,
        .description = "Two digit sensor id",
        .custom_validate = NULL
    },
    {
        .name = "version",
        .label = "Version",
        .type = PARAM_TYPE_STRING,
        .struct_offset = offsetof(struct spo2_config, version),
        .field_size = sizeof(((struct spo2_config *)0)->version),
        .min_val = 0,
        .max_val = 0,
        .unit = NULL,
        .select_options = NULL,
        .description = "Firmware config version",
        .custom_validate = NULL
    },
    {
        .name = "no_finger",
        .label = "No Finger Threshold",
        .type = PARAM_TYPE_INT,
        .struct_offset = offsetof(struct spo2_config, no_finger_threshold),
        .field_size = sizeof(((struct spo2_config *)0)->no_finger_threshold),
        .min_val = 100,
        .max_val = 20000,
        .unit = NULL,
        .select_options = NULL,
        .description = "ADC threshold for finger detection",
        .custom_validate = NULL
    },
    {
        .name = "spo2_scan_rate",
        .label = "SpO2 Scan Rate",
        .type = PARAM_TYPE_UINT,
        .struct_offset = offsetof(struct spo2_config, spo2_scan_rate_s),
        .field_size = sizeof(((struct spo2_config *)0)->spo2_scan_rate_s),
        .min_val = 1,
        .max_val = 9999,
        .unit = "sec",
        .select_options = NULL,
        .description = "Sampling interval in seconds (9999 to disable)",
        .custom_validate = NULL
    },
    {
        .name = "temp_scan_rate",
        .label = "Temperature Scan Rate",
        .type = PARAM_TYPE_UINT,
        .struct_offset = offsetof(struct spo2_config, body_temp_scan_rate_s),
        .field_size = sizeof(((struct spo2_config *)0)->body_temp_scan_rate_s),
        .min_val = 1,
        .max_val = 9999,
        .unit = "sec",
        .select_options = NULL,
        .description = "Sampling interval in seconds (9999 to disable)",
        .custom_validate = NULL
    }
};

static const config_alias_t spo2_aliases[] = {
    {"RATE", &spo2_fields[3]},
    {"TEMP", &spo2_fields[4]},
    {"TH", &spo2_fields[2]}
};

const config_block_t spo2_config_block = {
    .nvs_id = NVS_ID_SPO2_CONFIG,
    .struct_size = sizeof(struct spo2_config),
    .active_ptr = &spo2_cfg,
    .candidate_ptr = &spo2_candidate_cfg,
    .default_ptr = &spo2_defaults,
    .fields = spo2_fields,
    .field_count = ARRAY_SIZE(spo2_fields),
    .schema_id = "device",
    .schema_name = "SpO2 Config",
    .schema_desc = "Editable BLE NVS parameters",
    .aliases = spo2_aliases,
    .alias_count = ARRAY_SIZE(spo2_aliases)
};
```

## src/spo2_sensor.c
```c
#include "spo2_sensor.h"
#include "app_threads.h"
#include "adc_utils.h"
#include "tt_main.h"

#include <zephyr/kernel.h>
#include <zephyr/logging/log.h>
#include <dk_buttons_and_leds.h>
#include <math.h>
#include <stdlib.h>
#include <stdio.h>
#include "common_nvs.h"

LOG_MODULE_REGISTER(spo2_sensor, LOG_LEVEL_INF);

/* ADC Configuration */
#define SPO2_ADC_PORT SAADC_CH_PSELP_PSELP_AnalogInput0

#define SAMPLE_RATE_HZ          50
#define SAMPLE_WINDOW_SECONDS   2
#define TOTAL_SAMPLES           (SAMPLE_RATE_HZ * SAMPLE_WINDOW_SECONDS)

#define LED_SETTLE_MS           2
#define SAMPLE_SPACING_MS       5
#define AMBIENT_WEIGHT          0.5f

#define SPO2_FILTER_DEPTH       5
#define HR_FILTER_DEPTH         3

#define SPO2_MIN_LIMIT          7000
#define SPO2_MAX_LIMIT          10000

#define MIN_PEAK_DISTANCE       (SAMPLE_RATE_HZ / 2)

extern struct k_mutex adc_lock;
extern const struct device *adc_dev;

static int16_t red_buf[TOTAL_SAMPLES];
static int16_t ir_buf[TOTAL_SAMPLES];

static int spo2_hist[SPO2_FILTER_DEPTH];
static int spo2_hist_idx = 0;
static int spo2_hist_cnt = 0;

static int hr_hist[HR_FILTER_DEPTH];
static int hr_hist_idx = 0;
static int hr_hist_cnt = 0;

static int16_t local_sample_buffer[1];

static int16_t read_adc_once_fast(uint8_t channel_id)
{
    struct adc_sequence sequence = {
        .channels    = BIT(channel_id),
        .buffer      = local_sample_buffer,
        .buffer_size = sizeof(local_sample_buffer),
        .resolution  = 14,
    };

    if (adc_read(adc_dev, &sequence) == 0)
        return local_sample_buffer[0];

    return 0;
}

static int16_t read_adc_avg(uint8_t samples)
{
    int32_t sum = 0;

    for (int i = 0; i < samples; i++) {
        sum += read_adc_once_fast(0);
    }

    return (int16_t)(sum / samples);
}

static int16_t read_led_hybrid(uint8_t led_id)
{
    int16_t ambient = 0;
    int16_t signal  = 0;

    dk_set_led_off(DK_LED2);
    dk_set_led_off(DK_LED3);
    k_sleep(K_MSEC(LED_SETTLE_MS));

    ambient = read_adc_avg(3);

    if (led_id == 0)
        dk_set_led_on(DK_LED3);   // RED
    else
        dk_set_led_on(DK_LED2);   // IR

    k_sleep(K_MSEC(LED_SETTLE_MS));

    signal = read_adc_avg(3);

    if (led_id == 0)
        dk_set_led_off(DK_LED3);
    else
        dk_set_led_off(DK_LED2);

    float corrected = signal - (ambient * AMBIENT_WEIGHT);
    return (int16_t)corrected;
}

static int smooth_value(int *hist, int depth, int *idx, int *cnt, int val)
{
    hist[*idx] = val;
    *idx = (*idx + 1) % depth;
    if (*cnt < depth) (*cnt)++;

    int temp[SPO2_FILTER_DEPTH];
    for (int i = 0; i < *cnt; i++) {
        temp[i] = hist[i];
    }

    for (int i = 0; i < *cnt - 1; i++) {
        for (int j = i + 1; j < *cnt; j++) {
            if (temp[i] > temp[j]) {
                int t = temp[i];
                temp[i] = temp[j];
                temp[j] = t;
            }
        }
    }

    return temp[*cnt / 2];
}

static void compute_dc_ac(const int16_t *buf, float *dc, float *ac)
{
    int32_t sum = 0;
    int16_t min_v = 32767;
    int16_t max_v = -32768;

    for (int i = 0; i < TOTAL_SAMPLES; i++) {
        sum += buf[i];
        if (buf[i] < min_v) min_v = buf[i];
        if (buf[i] > max_v) max_v = buf[i];
    }

    *dc = (float)sum / TOTAL_SAMPLES;
    *ac = (float)(max_v - min_v);
}

static int compute_heart_rate(float red_dc, float red_ac)
{
    if (red_ac < 15.0f || red_dc < 100.0f)
        return 0;

    int peaks[10];
    int peak_count = 0;

    for (int i = 1; i < TOTAL_SAMPLES - 1; i++) {
        if (red_buf[i] > red_buf[i - 1] &&
            red_buf[i] > red_buf[i + 1] &&
            red_buf[i] > (int16_t)(red_dc + red_ac * 0.2f))
        {
            if (peak_count == 0 ||
                (i - peaks[peak_count - 1]) >= MIN_PEAK_DISTANCE)
            {
                peaks[peak_count++] = i;
                if (peak_count >= 10) break;
            }
        }
    }

    if (peak_count < 2) return 0;

    int total_interval = 0;
    for (int i = 1; i < peak_count; i++) {
        total_interval += (peaks[i] - peaks[i - 1]);
    }

    float avg_interval_samples = (float)total_interval / (peak_count - 1);
    float hr = (60.0f * SAMPLE_RATE_HZ) / avg_interval_samples;

    return (int)hr;
}

static void collect_samples(void)
{
    k_mutex_lock(&adc_lock, K_FOREVER);
    adc_setup(SPO2_ADC_PORT, 0);

    for (int i = 0; i < TOTAL_SAMPLES; i++) {
        red_buf[i] = read_led_hybrid(0);
        ir_buf[i]  = read_led_hybrid(1);
        k_sleep(K_MSEC(SAMPLE_SPACING_MS));
    }

    k_mutex_unlock(&adc_lock);
}

void spo2_start(void)
{
    collect_samples();

    float red_dc, red_ac;
    float ir_dc,  ir_ac;

    compute_dc_ac(red_buf, &red_dc, &red_ac);
    compute_dc_ac(ir_buf,  &ir_dc,  &ir_ac);

    printk("RED DC=%d AC=%d | IR DC=%d AC=%d",
            (int)red_dc, (int)red_ac,
            (int)ir_dc,  (int)ir_ac);

    /* Compute R ratio and Perfusion Index (PI) for diagnostics */
    float red_ratio = (red_dc > 0.001f) ? (red_ac / red_dc) : 0.0f;
    float ir_ratio  = (ir_dc > 0.001f) ? (ir_ac / ir_dc) : 0.0001f;
    float R_diag    = red_ratio / (ir_ratio > 0.0001f ? ir_ratio : 0.0001f);
    float pi_diag   = (ir_dc > 0.001f) ? ((ir_ac / ir_dc) * 100.0f) : 0.0f;

    /* Always transmit live SpO2 diagnostic metrics over BLE NUS */
    extern int ble_utils_send(const uint8_t *data, uint16_t len);
    int32_t r_x10000 = (int32_t)(R_diag * 10000.0f);
    int32_t pi_x100  = (int32_t)(pi_diag * 100.0f);
    char diag_buf[140];
    snprintf(diag_buf, sizeof(diag_buf),
        "{\"type\":\"diag_spo2\",\"red_dc\":%d,\"red_ac\":%d,\"ir_dc\":%d,\"ir_ac\":%d,\"r_ratio\":%ld.%04ld,\"pi\":%ld.%02ld}\n",
        (int)red_dc, (int)red_ac, (int)ir_dc, (int)ir_ac,
        (long)(r_x10000 / 10000), (long)labs(r_x10000 % 10000),
        (long)(pi_x100 / 100), (long)labs(pi_x100 % 100));
    ble_utils_send((const uint8_t *)diag_buf, (uint16_t)strlen(diag_buf));

    if (red_ac > red_dc * 0.6f) {
        LOG_WRN("Signal unstable (AC too high), skipping");
        return;
    }

    struct telemetry_msg msg = {
        .type = MSG_TYPE_SPO2,
        .timestamp = k_uptime_get()
    };

    int32_t threshold = spo2_config_get_no_finger_threshold();
    int32_t target_thresh = threshold > 0 ? threshold : 1000;

    if (red_dc > target_thresh) {
        printk("No finger detected (RED DC=%d > threshold=%d)", (int)red_dc, (int)target_thresh);
        msg.data.spo2.spo2 = 1000; /* 10.00 % */
        msg.data.spo2.heart_rate = 0;
        app_post_telemetry(&msg);
        return;
    }

    if (red_dc < 50.0f || ir_dc < 50.0f) {
        LOG_WRN("Photodiode DC level too low for ratio math (RED=%.1f, IR=%.1f)", (double)red_dc, (double)ir_dc);
        return;
    }

    float R = R_diag;
    float SpO2 = 103.54f - 4.605f * R;

    int intSpO2 = (int)(SpO2 * 100);
    if (intSpO2 > SPO2_MAX_LIMIT) intSpO2 = SPO2_MAX_LIMIT;
    if (intSpO2 < SPO2_MIN_LIMIT) intSpO2 = SPO2_MIN_LIMIT;

    intSpO2 = smooth_value(spo2_hist, SPO2_FILTER_DEPTH, &spo2_hist_idx, &spo2_hist_cnt, intSpO2);
    int hr = compute_heart_rate(red_dc, red_ac);

    if (hr > 40 && hr < 200) {
        hr = smooth_value(hr_hist, HR_FILTER_DEPTH, &hr_hist_idx, &hr_hist_cnt, hr);
    } else {
        hr = 0;
    }

    r_x10000 = (int32_t)(R * 10000.0f);
    printk("SpO2 calculated: R=%ld.%04ld SpO2=%d HR=%d",
            (long)(r_x10000 / 10000), (long)labs(r_x10000 % 10000), intSpO2, hr);

    msg.data.spo2.spo2 = intSpO2;
    msg.data.spo2.heart_rate = hr;
    app_post_telemetry(&msg);
}

void spo2_stop(void)
{
    dk_set_led_off(DK_LED2);
    dk_set_led_off(DK_LED3);
}

void spo2_init(void)
{
    spo2_hist_idx = 0;
    spo2_hist_cnt = 0;
    hr_hist_idx = 0;
    hr_hist_cnt = 0;
}
```
